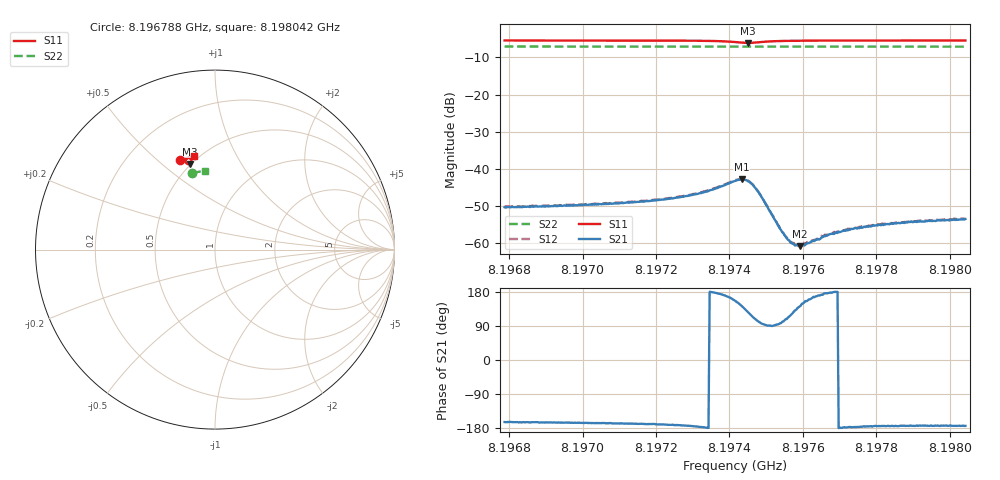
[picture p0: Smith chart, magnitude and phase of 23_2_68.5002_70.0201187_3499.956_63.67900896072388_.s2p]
#  HZ  S  RI  R  50.00
! Rohde & Schwarz Vector Network Analyzer
! Rohde-Schwarz,ZNB20-2Port,1311601062101988,3.16
! Created: UTC 3/20/2024, 4:49:36 PM
! freq[Hz]  re:S11  im:S11  re:S21  im:S21  re:S12  im:S12  re:S22  im:S22
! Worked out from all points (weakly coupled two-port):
!   401 points, 8.196788 GHz to 8.198042 GHz, reference 50 ohm
!   highest |S21| = -42.90 dB at 8.197434 GHz (marker M1); lowest = -60.9 dB at 8.197591 GHz (marker M2)
!   lowest |S11| = -6.1 dB at 8.19745 GHz (marker M3), VSWR 2.98, Z = 24.6 + j31.2 ohm
!   |S11| at or under -10 dB: nowhere
!   |S22| runs from -7.1 to -7.0 dB; largest |S21 - S12| = 0.00039
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8.1967879e9  -0.1944 0.4998  -0.00289 -0.000844  -0.003 -0.000762  -0.1262 0.426
8.196998e9  -0.179 0.5051  -0.00313 -0.000789  -0.00324 -0.000649  -0.1149 0.4289
8.1972081e9  -0.1614 0.5097  -0.00372 -0.000664  -0.00381 -0.000543  -0.1032 0.4315
8.1973178e9  -0.1483 0.5102  -0.00464 -0.000278  -0.00472 -0.000127  -0.0972 0.4326
8.1973586e9  -0.1413 0.508  -0.00531 0.000181  -0.00543 0.000459  -0.0947 0.433
8.197415e9  -0.131 0.4937  -0.00626 0.00272  -0.00627 0.00307  -0.0914 0.4331
8.1974338e9  -0.1332 0.4837  -0.00566 0.00439  -0.00549 0.00471  -0.0906 0.433
8.1974495e9  -0.1413 0.4769  -0.0041 0.00544  -0.00388 0.00574  -0.09 0.4331
8.1974652e9  -0.1521 0.4766  -0.0022 0.00548  -0.00199 0.00562  -0.0893 0.4333
8.1974809e9  -0.1601 0.4823  -0.000828 0.00458  -0.000629 0.00466  -0.0888 0.4335
8.1975373e9  -0.1609 0.502  -0.000182 0.00155  -0.000122 0.00156  -0.0856 0.4345
8.197553e9  -0.1589 0.505  -0.000371 0.00115  -0.000311 0.00117  -0.0848 0.4347
8.1975718e9  -0.1566 0.5075  -0.000537 0.000812  -0.000539 0.00083  -0.0837 0.435
8.1975781e9  -0.1557 0.5082  -0.000602 0.000697  -0.000562 0.000754  -0.0833 0.4352
8.1975906e9  -0.1542 0.5095  -0.0007 0.000565  -0.000728 0.000614  -0.0825 0.4352
8.1976e9  -0.153 0.5101  -0.000803 0.000476  -0.000807 0.000504  -0.0821 0.4353
8.1976251e9  -0.1502 0.512  -0.00101 0.000292  -0.00103 0.000337  -0.0805 0.4356
8.1976722e9  -0.1454 0.5143  -0.0013 6.96e-05  -0.0013 0.000116  -0.0781 0.436
8.1977286e9  -0.1401 0.5162  -0.0015 -8.67e-05  -0.00154 -2.45e-05  -0.0748 0.4364
8.1978352e9  -0.1311 0.519  -0.00176 -0.000175  -0.00179 -0.000129  -0.0688 0.4373
8.1979168e9  -0.1247 0.5207  -0.00191 -0.000236  -0.00197 -0.000163  -0.0642 0.4378
8.1980422e9  -0.1154 0.523  -0.00208 -0.000227  -0.00211 -0.000134  -0.0572 0.4385
